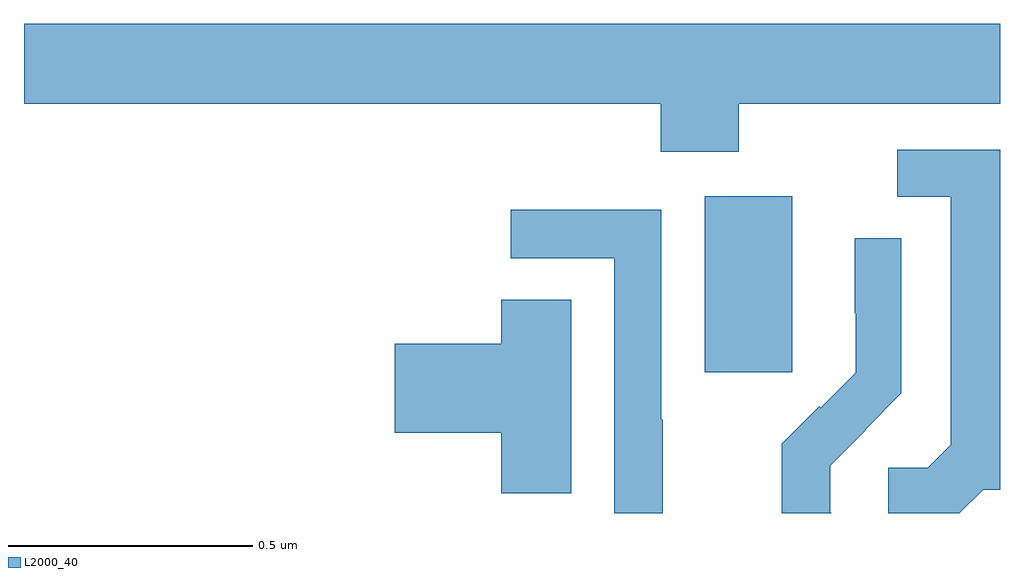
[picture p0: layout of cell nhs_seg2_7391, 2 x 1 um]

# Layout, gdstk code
import gdstk
lib = gdstk.Library(unit=1e-6, precision=1e-09)
def R(c, l, rs):  # rectangles x0, y0, x1, y1
    for r in rs: c.add(gdstk.rectangle(r[:2], r[2:], *l))
def P(c, l, *ps):  # polygons
    for p in ps: c.add(gdstk.Polygon(p, *l))
L2000_40 = (2000, 40)

nhs_seg2_7391 = lib.new_cell('nhs_seg2_7391')
R(nhs_seg2_7391, L2000_40, [(204.395,643.089,204.574,643.45)])
P(nhs_seg2_7391, L2000_40, [(204.465,643.64),(205,643.64),(205,643.804),(203,643.804),(203,643.64),(204.305,643.64),(204.305,643.541),(204.465,643.541)],
  [(204.966,642.849),(205,642.849),(205,643.545),(204.789,643.545),(204.789,643.449),(204.899,643.449),(204.899,642.941),(204.852,642.894),(204.771,642.894),(204.771,642.8),(204.917,642.8)],
  [(204.309,642.992),(204.306,642.992),(204.306,643.422),(203.997,643.422),(203.997,643.323),(204.21,643.323),(204.21,642.8),(204.309,642.8)],
  [(204.654,642.801),(204.652,642.801),(204.652,642.898),(204.726,642.972),(204.725,642.973),(204.798,643.046),(204.798,643.364),(204.702,643.364),(204.702,643.21),(204.704,643.21),(204.704,643.088),(204.633,643.017),(204.63,643.02),(204.553,642.943),(204.553,642.8),(204.654,642.8)],
  [(204.121,643.238),(203.978,643.238),(203.978,643.148),(203.76,643.148),(203.76,642.965),(203.978,642.965),(203.978,642.841),(204.121,642.841)])

lib.write_gds('nhs_seg2_7391.gds')
